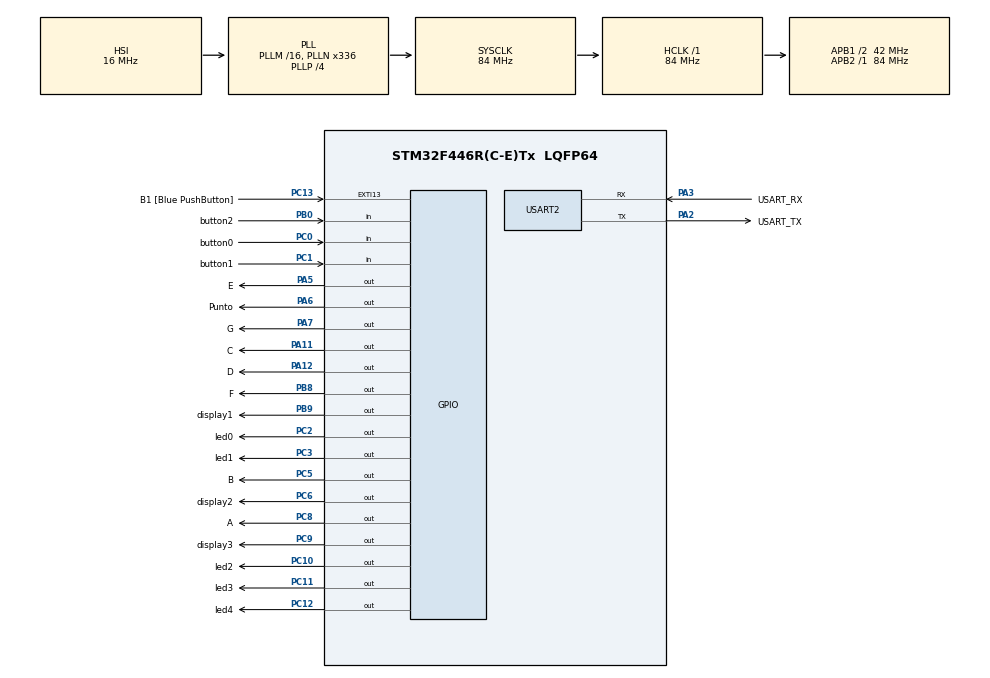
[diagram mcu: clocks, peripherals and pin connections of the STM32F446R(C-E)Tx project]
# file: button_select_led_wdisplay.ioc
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Mcu.Family=STM32F4
Mcu.Name=STM32F446R(C-E)Tx
Mcu.Package=LQFP64
NVIC.PriorityGroup=NVIC_PRIORITYGROUP_0
PA11.GPIO_Label=C
PA11.Signal=GPIO_Output
PA12.GPIO_Label=D
PA12.Signal=GPIO_Output
PA13.GPIO_Label=TMS
PA13.Mode=Serial_Wire
PA13.Signal=SYS_JTMS-SWDIO
PA14.GPIO_Label=TCK
PA14.Mode=Serial_Wire
PA14.Signal=SYS_JTCK-SWCLK
PA2.GPIO_Label=USART_TX
PA2.Mode=Asynchronous
PA2.Signal=USART2_TX
PA3.GPIO_Label=USART_RX
PA3.Mode=Asynchronous
PA3.Signal=USART2_RX
PA5.GPIO_Label=E
PA5.Signal=GPIO_Output
PA6.GPIO_Label=Punto
PA6.Signal=GPIO_Output
PA7.GPIO_Label=G
PA7.Signal=GPIO_Output
PB0.GPIO_Label=button2
PB0.Signal=GPIO_Input
PB3.GPIO_Label=SWO
PB3.Signal=SYS_JTDO-SWO
PB8.GPIO_Label=F
PB8.Signal=GPIO_Output
PB9.GPIO_Label=display1
PB9.Signal=GPIO_Output
PC0.GPIO_Label=button0
PC0.Signal=GPIO_Input
PC1.GPIO_Label=button1
PC1.Signal=GPIO_Input
PC10.GPIO_Label=led2
PC10.Signal=GPIO_Output
PC11.GPIO_Label=led3
PC11.Signal=GPIO_Output
PC12.GPIO_Label=led4
PC12.Signal=GPIO_Output
PC13.GPIO_Label=B1 [Blue PushButton]
PC13.GPIO_ModeDefaultEXTI=GPIO_MODE_IT_FALLING
PC13.Signal=GPXTI13
PC14-OSC32_IN.Mode=LSE-External-Oscillator
PC14-OSC32_IN.Signal=RCC_OSC32_IN
PC15-OSC32_OUT.Mode=LSE-External-Oscillator
PC15-OSC32_OUT.Signal=RCC_OSC32_OUT
PC2.GPIO_Label=led0
PC2.Signal=GPIO_Output
PC3.GPIO_Label=led1
PC3.Signal=GPIO_Output
PC5.GPIO_Label=B
PC5.Signal=GPIO_Output
PC6.GPIO_Label=display2
PC6.Signal=GPIO_Output
PC8.GPIO_Label=A
PC8.Signal=GPIO_Output
PC9.GPIO_Label=display3
PC9.Signal=GPIO_Output
PH0-OSC_IN.Mode=HSE-External-Oscillator
PH0-OSC_IN.Signal=RCC_OSC_IN
PH1-OSC_OUT.Mode=HSE-External-Oscillator
PH1-OSC_OUT.Signal=RCC_OSC_OUT
ProjectManager.HeapSize=0x200
ProjectManager.StackSize=0x400
ProjectManager.TargetToolchain=STM32CubeIDE
RCC.48MHZClocksFreq_Value=84000000
RCC.AHBFreq_Value=84000000
RCC.APB1CLKDivider=RCC_HCLK_DIV2
RCC.APB1Freq_Value=42000000
RCC.APB1TimFreq_Value=84000000
RCC.APB2Freq_Value=84000000
RCC.APB2TimFreq_Value=84000000
RCC.CortexFreq_Value=84000000
RCC.FLatency-AdvancedSettings=FLASH_LATENCY_2
RCC.HCLKFreq_Value=84000000
RCC.HSE_VALUE=8000000
RCC.HSI_VALUE=16000000
RCC.PLLN=336
RCC.PLLP=RCC_PLLP_DIV4
RCC.SYSCLKFreq_VALUE=84000000
RCC.SYSCLKSource=RCC_SYSCLKSOURCE_PLLCLK
RCC.USBFreq_Value=168000000
RCC.VCOOutputFreq_Value=336000000
USART2.VirtualMode=VM_ASYNC
board=NUCLEO-F446RE

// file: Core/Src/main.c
/* USER CODE BEGIN Header */
/**
  ******************************************************************************
  * @file           : main.c
  * @brief          : Main program body
  ******************************************************************************
  * @attention
  *
  * Copyright (c) 2024 STMicroelectronics.
  * All rights reserved.
  *
  * This software is licensed under terms that can be found in the LICENSE file
  * in the root directory of this software component.
  * If no LICENSE file comes with this software, it is provided AS-IS.
  *
  ******************************************************************************
  */
/* USER CODE END Header */
#include "main.h"

UART_HandleTypeDef huart2;

void SystemClock_Config(void);
static void MX_GPIO_Init(void);
static void MX_USART2_UART_Init(void);

/* USER CODE BEGIN 0 */
/*c9= 3display
 *c8= A
 *b8= F
 *c6= display2
 *b9= display1
 *c5= B
 *a5= E
 *a12= D
 *a6=  DP
 *a11=  C
 *a7=  G
 */
void num(int n) {
    if (n == 0) {
        HAL_GPIO_WritePin(GPIOC, GPIO_PIN_8, GPIO_PIN_SET);
        HAL_GPIO_WritePin(GPIOB, GPIO_PIN_8, GPIO_PIN_SET);
        HAL_GPIO_WritePin(GPIOC, GPIO_PIN_5, GPIO_PIN_SET);
        HAL_GPIO_WritePin(GPIOA, GPIO_PIN_5, GPIO_PIN_SET);
        HAL_GPIO_WritePin(GPIOA, GPIO_PIN_12, GPIO_PIN_SET);
        HAL_GPIO_WritePin(GPIOA, GPIO_PIN_6, GPIO_PIN_SET);
        HAL_GPIO_WritePin(GPIOA, GPIO_PIN_11, GPIO_PIN_SET);
    } else if (n == 1) {
        HAL_GPIO_WritePin(GPIOA, GPIO_PIN_6, GPIO_PIN_SET);
        HAL_GPIO_WritePin(GPIOB, GPIO_PIN_8, GPIO_PIN_SET);
        HAL_GPIO_WritePin(GPIOA, GPIO_PIN_5, GPIO_PIN_SET);
    }
    else if(n==2){
    	HAL_GPIO_WritePin(GPIOC, GPIO_PIN_8, GPIO_PIN_SET);
    	HAL_GPIO_WritePin(GPIOC, GPIO_PIN_5, GPIO_PIN_SET);
    	HAL_GPIO_WritePin(GPIOA, GPIO_PIN_7, GPIO_PIN_SET);
    	HAL_GPIO_WritePin(GPIOA, GPIO_PIN_5, GPIO_PIN_SET);
    	HAL_GPIO_WritePin(GPIOA, GPIO_PIN_12, GPIO_PIN_SET);
    	HAL_GPIO_WritePin(GPIOA, GPIO_PIN_6, GPIO_PIN_SET);
    }
    else if(n==3){
    	HAL_GPIO_WritePin(GPIOA, GPIO_PIN_6, GPIO_PIN_SET);
    	HAL_GPIO_WritePin(GPIOC, GPIO_PIN_8, GPIO_PIN_SET);
    	HAL_GPIO_WritePin(GPIOC, GPIO_PIN_5, GPIO_PIN_SET);
    	HAL_GPIO_WritePin(GPIOA, GPIO_PIN_11, GPIO_PIN_SET);
    	HAL_GPIO_WritePin(GPIOA, GPIO_PIN_12, GPIO_PIN_SET);
    	HAL_GPIO_WritePin(GPIOA, GPIO_PIN_7, GPIO_PIN_SET);
    }
    else if(n==4){
    	HAL_GPIO_WritePin(GPIOA, GPIO_PIN_6, GPIO_PIN_SET);
    	HAL_GPIO_WritePin(GPIOC, GPIO_PIN_5, GPIO_PIN_SET);
    	HAL_GPIO_WritePin(GPIOA, GPIO_PIN_11, GPIO_PIN_SET);
    	HAL_GPIO_WritePin(GPIOB, GPIO_PIN_8, GPIO_PIN_SET);
    	HAL_GPIO_WritePin(GPIOA, GPIO_PIN_7, GPIO_PIN_SET);
    }
    else if(n==5){
    	HAL_GPIO_WritePin(GPIOA, GPIO_PIN_6, GPIO_PIN_SET);
    	HAL_GPIO_WritePin(GPIOC, GPIO_PIN_8, GPIO_PIN_SET);
    	HAL_GPIO_WritePin(GPIOB, GPIO_PIN_8, GPIO_PIN_SET);
    	HAL_GPIO_WritePin(GPIOA, GPIO_PIN_7, GPIO_PIN_SET);
    	HAL_GPIO_WritePin(GPIOA, GPIO_PIN_11, GPIO_PIN_SET);
    	HAL_GPIO_WritePin(GPIOA, GPIO_PIN_12, GPIO_PIN_SET);
    }
    else if(n==6){
        	HAL_GPIO_WritePin(GPIOA, GPIO_PIN_6, GPIO_PIN_SET);
        	HAL_GPIO_WritePin(GPIOC, GPIO_PIN_8, GPIO_PIN_SET);
        	HAL_GPIO_WritePin(GPIOB, GPIO_PIN_8, GPIO_PIN_SET);
        	HAL_GPIO_WritePin(GPIOA, GPIO_PIN_7, GPIO_PIN_SET);
        	HAL_GPIO_WritePin(GPIOA, GPIO_PIN_11, GPIO_PIN_SET);
        	HAL_GPIO_WritePin(GPIOA, GPIO_PIN_12, GPIO_PIN_SET);
        	HAL_GPIO_WritePin(GPIOA, GPIO_PIN_5, GPIO_PIN_SET);
        }
    else if(n==7){
    	HAL_GPIO_WritePin(GPIOA, GPIO_PIN_6, GPIO_PIN_SET);
    	HAL_GPIO_WritePin(GPIOC, GPIO_PIN_8, GPIO_PIN_SET);
    	HAL_GPIO_WritePin(GPIOC, GPIO_PIN_5, GPIO_PIN_SET);
    	HAL_GPIO_WritePin(GPIOA, GPIO_PIN_11, GPIO_PIN_SET);
    }
    else if(n==8){
            	HAL_GPIO_WritePin(GPIOA, GPIO_PIN_6, GPIO_PIN_SET);
            	HAL_GPIO_WritePin(GPIOC, GPIO_PIN_8, GPIO_PIN_SET);
            	HAL_GPIO_WritePin(GPIOB, GPIO_PIN_8, GPIO_PIN_SET);
            	HAL_GPIO_WritePin(GPIOA, GPIO_PIN_7, GPIO_PIN_SET);
            	HAL_GPIO_WritePin(GPIOA, GPIO_PIN_11, GPIO_PIN_SET);
            	HAL_GPIO_WritePin(GPIOA, GPIO_PIN_12, GPIO_PIN_SET);
            	HAL_GPIO_WritePin(GPIOA, GPIO_PIN_5, GPIO_PIN_SET);
            	HAL_GPIO_WritePin(GPIOC, GPIO_PIN_5, GPIO_PIN_SET);
            }
    else if(n==9){
                	HAL_GPIO_WritePin(GPIOA, GPIO_PIN_6, GPIO_PIN_SET);
                	HAL_GPIO_WritePin(GPIOC, GPIO_PIN_8, GPIO_PIN_SET);
                	HAL_GPIO_WritePin(GPIOB, GPIO_PIN_8, GPIO_PIN_SET);
                	HAL_GPIO_WritePin(GPIOA, GPIO_PIN_7, GPIO_PIN_SET);
                	HAL_GPIO_WritePin(GPIOA, GPIO_PIN_11, GPIO_PIN_SET);
                	HAL_GPIO_WritePin(GPIOA, GPIO_PIN_12, GPIO_PIN_SET);
                	HAL_GPIO_WritePin(GPIOC, GPIO_PIN_5, GPIO_PIN_SET);
                }
}
void reset_all_pins(void) {
    // Reset all specified pins to low
    HAL_GPIO_WritePin(GPIOC, GPIO_PIN_9, GPIO_PIN_RESET);  // c9 = 3display
    HAL_GPIO_WritePin(GPIOC, GPIO_PIN_8, GPIO_PIN_RESET);  // c8 = A
    HAL_GPIO_WritePin(GPIOB, GPIO_PIN_8, GPIO_PIN_RESET);  // b8 = F
    HAL_GPIO_WritePin(GPIOC, GPIO_PIN_6, GPIO_PIN_RESET);  // c6 = display2
    HAL_GPIO_WritePin(GPIOB, GPIO_PIN_9, GPIO_PIN_RESET);  // b9 = display1
    HAL_GPIO_WritePin(GPIOC, GPIO_PIN_5, GPIO_PIN_RESET);  // c5 = B
    HAL_GPIO_WritePin(GPIOA, GPIO_PIN_5, GPIO_PIN_RESET);  // a5 = E
    HAL_GPIO_WritePin(GPIOA, GPIO_PIN_12, GPIO_PIN_RESET); // a12 = D
    HAL_GPIO_WritePin(GPIOA, GPIO_PIN_6, GPIO_PIN_RESET);  // a6 = DP
    HAL_GPIO_WritePin(GPIOA, GPIO_PIN_11, GPIO_PIN_RESET); // a11 = C
    HAL_GPIO_WritePin(GPIOA, GPIO_PIN_7, GPIO_PIN_RESET);  // b6 = G
}

/* USER CODE END 0 */

int main(void)
{

  /* USER CODE BEGIN 1 */
	int number=0;
  /* USER CODE END 1 */

  /* MCU Configuration--------------------------------------------------------*/

  /* Reset of all peripherals, Initializes the Flash interface and the Systick. */
  HAL_Init();

  /* Configure the system clock */
  SystemClock_Config();

  /* Initialize all configured peripherals */
  MX_GPIO_Init();
  MX_USART2_UART_Init();

  /* Infinite loop */
  /* USER CODE BEGIN WHILE */
  while (1)
  {
	  HAL_GPIO_WritePin(GPIOC, GPIO_PIN_9, GPIO_PIN_SET);  // c9 = 3display
	  HAL_GPIO_WritePin(GPIOC, GPIO_PIN_6, GPIO_PIN_SET);  // c6 = display2
	  GPIO_PinState button0_state = HAL_GPIO_ReadPin(GPIOC, GPIO_PIN_0);
	  GPIO_PinState button1_state = HAL_GPIO_ReadPin(GPIOC, GPIO_PIN_1);
	  GPIO_PinState button2_state = HAL_GPIO_ReadPin(GPIOB, GPIO_PIN_0);
	  if(button0_state==GPIO_PIN_SET){
	  		  if(number<4){
	  			  number+=1;
	  		  }
	  		num(number);
	  		HAL_Delay(250);
	  	  }
	  else if(button1_state==GPIO_PIN_SET){
	  		  if(number>0){
	  			  number-=1;
	  		  }
	  		num(number);
	  		HAL_Delay(250);
	  	  }
	  num(number);
	  HAL_Delay(25);
	  reset_all_pins();
	  if(button2_state==GPIO_PIN_SET){
		  if(number==0){
			  HAL_GPIO_WritePin(GPIOC, GPIO_PIN_3, GPIO_PIN_SET);
			  HAL_GPIO_WritePin(GPIOC, GPIO_PIN_2, GPIO_PIN_RESET);
			  HAL_GPIO_WritePin(GPIOC, GPIO_PIN_10, GPIO_PIN_RESET);
			  HAL_GPIO_WritePin(GPIOC, GPIO_PIN_11, GPIO_PIN_RESET);
			  HAL_GPIO_WritePin(GPIOC, GPIO_PIN_12, GPIO_PIN_RESET);
		  }
		  else if(number==1){
			  HAL_GPIO_WritePin(GPIOC, GPIO_PIN_2, GPIO_PIN_SET);
			  HAL_GPIO_WritePin(GPIOC, GPIO_PIN_3, GPIO_PIN_RESET);
			  HAL_GPIO_WritePin(GPIOC, GPIO_PIN_10, GPIO_PIN_RESET);
			  HAL_GPIO_WritePin(GPIOC, GPIO_PIN_11, GPIO_PIN_RESET);
			  HAL_GPIO_WritePin(GPIOC, GPIO_PIN_12, GPIO_PIN_RESET);
		  }
		  else if(number==2){
			  HAL_GPIO_WritePin(GPIOC, GPIO_PIN_10, GPIO_PIN_SET);
			  HAL_GPIO_WritePin(GPIOC, GPIO_PIN_3, GPIO_PIN_RESET);
			  HAL_GPIO_WritePin(GPIOC, GPIO_PIN_2, GPIO_PIN_RESET);
			  HAL_GPIO_WritePin(GPIOC, GPIO_PIN_11, GPIO_PIN_RESET);
			  HAL_GPIO_WritePin(GPIOC, GPIO_PIN_12, GPIO_PIN_RESET);
		  }
		  else if(number==3){
			  HAL_GPIO_WritePin(GPIOC, GPIO_PIN_11, GPIO_PIN_SET);
			  HAL_GPIO_WritePin(GPIOC, GPIO_PIN_10, GPIO_PIN_RESET);
			  HAL_GPIO_WritePin(GPIOC, GPIO_PIN_3, GPIO_PIN_RESET);
			  HAL_GPIO_WritePin(GPIOC, GPIO_PIN_2, GPIO_PIN_RESET);
			  HAL_GPIO_WritePin(GPIOC, GPIO_PIN_12, GPIO_PIN_RESET);
		  }
		  else if(number==4){
			  HAL_GPIO_WritePin(GPIOC, GPIO_PIN_12, GPIO_PIN_SET);
			  HAL_GPIO_WritePin(GPIOC, GPIO_PIN_11, GPIO_PIN_RESET);
			  HAL_GPIO_WritePin(GPIOC, GPIO_PIN_10, GPIO_PIN_RESET);
			  HAL_GPIO_WritePin(GPIOC, GPIO_PIN_3, GPIO_PIN_RESET);
			  HAL_GPIO_WritePin(GPIOC, GPIO_PIN_2, GPIO_PIN_RESET);
		  }
	  }
    /* USER CODE END WHILE */

  }
}

void SystemClock_Config(void)
{
  RCC_OscInitTypeDef RCC_OscInitStruct = {0};
  RCC_ClkInitTypeDef RCC_ClkInitStruct = {0};

  /** Configure the main internal regulator output voltage
  */
  __HAL_RCC_PWR_CLK_ENABLE();
  __HAL_PWR_VOLTAGESCALING_CONFIG(PWR_REGULATOR_VOLTAGE_SCALE3);

  /** Initializes the RCC Oscillators according to the specified parameters
  * in the RCC_OscInitTypeDef structure.
  */
  RCC_OscInitStruct.OscillatorType = RCC_OSCILLATORTYPE_HSI;
  RCC_OscInitStruct.HSIState = RCC_HSI_ON;
  RCC_OscInitStruct.HSICalibrationValue = RCC_HSICALIBRATION_DEFAULT;
  RCC_OscInitStruct.PLL.PLLState = RCC_PLL_ON;
  RCC_OscInitStruct.PLL.PLLSource = RCC_PLLSOURCE_HSI;
  RCC_OscInitStruct.PLL.PLLM = 16;
  RCC_OscInitStruct.PLL.PLLN = 336;
  RCC_OscInitStruct.PLL.PLLP = RCC_PLLP_DIV4;
  RCC_OscInitStruct.PLL.PLLQ = 2;
  RCC_OscInitStruct.PLL.PLLR = 2;
  if (HAL_RCC_OscConfig(&RCC_OscInitStruct) != HAL_OK)
  {
    Error_Handler();
  }

  /** Initializes the CPU, AHB and APB buses clocks
  */
  RCC_ClkInitStruct.ClockType = RCC_CLOCKTYPE_HCLK|RCC_CLOCKTYPE_SYSCLK
                              |RCC_CLOCKTYPE_PCLK1|RCC_CLOCKTYPE_PCLK2;
  RCC_ClkInitStruct.SYSCLKSource = RCC_SYSCLKSOURCE_PLLCLK;
  RCC_ClkInitStruct.AHBCLKDivider = RCC_SYSCLK_DIV1;
  RCC_ClkInitStruct.APB1CLKDivider = RCC_HCLK_DIV2;
  RCC_ClkInitStruct.APB2CLKDivider = RCC_HCLK_DIV1;

  if (HAL_RCC_ClockConfig(&RCC_ClkInitStruct, FLASH_LATENCY_2) != HAL_OK)
  {
    Error_Handler();
  }
}

static void MX_USART2_UART_Init(void)
{

  huart2.Instance = USART2;
  huart2.Init.BaudRate = 115200;
  huart2.Init.WordLength = UART_WORDLENGTH_8B;
  huart2.Init.StopBits = UART_STOPBITS_1;
  huart2.Init.Parity = UART_PARITY_NONE;
  huart2.Init.Mode = UART_MODE_TX_RX;
  huart2.Init.HwFlowCtl = UART_HWCONTROL_NONE;
  huart2.Init.OverSampling = UART_OVERSAMPLING_16;
  if (HAL_UART_Init(&huart2) != HAL_OK)
  {
    Error_Handler();
  }

}

static void MX_GPIO_Init(void)
{
  GPIO_InitTypeDef GPIO_InitStruct = {0};

  /* GPIO Ports Clock Enable */
  __HAL_RCC_GPIOC_CLK_ENABLE();
  __HAL_RCC_GPIOH_CLK_ENABLE();
  __HAL_RCC_GPIOA_CLK_ENABLE();
  __HAL_RCC_GPIOB_CLK_ENABLE();

  /*Configure GPIO pin Output Level */
  HAL_GPIO_WritePin(GPIOC, led0_Pin|led1_Pin|B_Pin|display2_Pin
                          |A_Pin|display3_Pin|led2_Pin|led3_Pin
                          |led4_Pin, GPIO_PIN_RESET);

  /*Configure GPIO pin Output Level */
  HAL_GPIO_WritePin(GPIOA, E_Pin|Punto_Pin|G_Pin|C_Pin
                          |D_Pin, GPIO_PIN_RESET);

  /*Configure GPIO pin Output Level */
  HAL_GPIO_WritePin(GPIOB, F_Pin|display1_Pin, GPIO_PIN_RESET);

  /*Configure GPIO pin : B1_Pin */
  GPIO_InitStruct.Pin = B1_Pin;
  GPIO_InitStruct.Mode = GPIO_MODE_IT_FALLING;
  GPIO_InitStruct.Pull = GPIO_NOPULL;
  HAL_GPIO_Init(B1_GPIO_Port, &GPIO_InitStruct);

  /*Configure GPIO pins : button0_Pin button1_Pin */
  GPIO_InitStruct.Pin = button0_Pin|button1_Pin;
  GPIO_InitStruct.Mode = GPIO_MODE_INPUT;
  GPIO_InitStruct.Pull = GPIO_NOPULL;
  HAL_GPIO_Init(GPIOC, &GPIO_InitStruct);

  /*Configure GPIO pins : led0_Pin led1_Pin B_Pin display2_Pin
                           A_Pin display3_Pin led2_Pin led3_Pin
                           led4_Pin */
  GPIO_InitStruct.Pin = led0_Pin|led1_Pin|B_Pin|display2_Pin
                          |A_Pin|display3_Pin|led2_Pin|led3_Pin
                          |led4_Pin;
  GPIO_InitStruct.Mode = GPIO_MODE_OUTPUT_PP;
  GPIO_InitStruct.Pull = GPIO_NOPULL;
  GPIO_InitStruct.Speed = GPIO_SPEED_FREQ_LOW;
  HAL_GPIO_Init(GPIOC, &GPIO_InitStruct);

  /*Configure GPIO pins : E_Pin Punto_Pin G_Pin C_Pin
                           D_Pin */
  GPIO_InitStruct.Pin = E_Pin|Punto_Pin|G_Pin|C_Pin
                          |D_Pin;
  GPIO_InitStruct.Mode = GPIO_MODE_OUTPUT_PP;
  GPIO_InitStruct.Pull = GPIO_NOPULL;
  GPIO_InitStruct.Speed = GPIO_SPEED_FREQ_LOW;
  HAL_GPIO_Init(GPIOA, &GPIO_InitStruct);

  /*Configure GPIO pin : button2_Pin */
  GPIO_InitStruct.Pin = button2_Pin;
  GPIO_InitStruct.Mode = GPIO_MODE_INPUT;
  GPIO_InitStruct.Pull = GPIO_NOPULL;
  HAL_GPIO_Init(button2_GPIO_Port, &GPIO_InitStruct);

  /*Configure GPIO pins : F_Pin display1_Pin */
  GPIO_InitStruct.Pin = F_Pin|display1_Pin;
  GPIO_InitStruct.Mode = GPIO_MODE_OUTPUT_PP;
  GPIO_InitStruct.Pull = GPIO_NOPULL;
  GPIO_InitStruct.Speed = GPIO_SPEED_FREQ_LOW;
  HAL_GPIO_Init(GPIOB, &GPIO_InitStruct);

}

void Error_Handler(void)
{
  __disable_irq();
  while (1)
  {
  }
}
